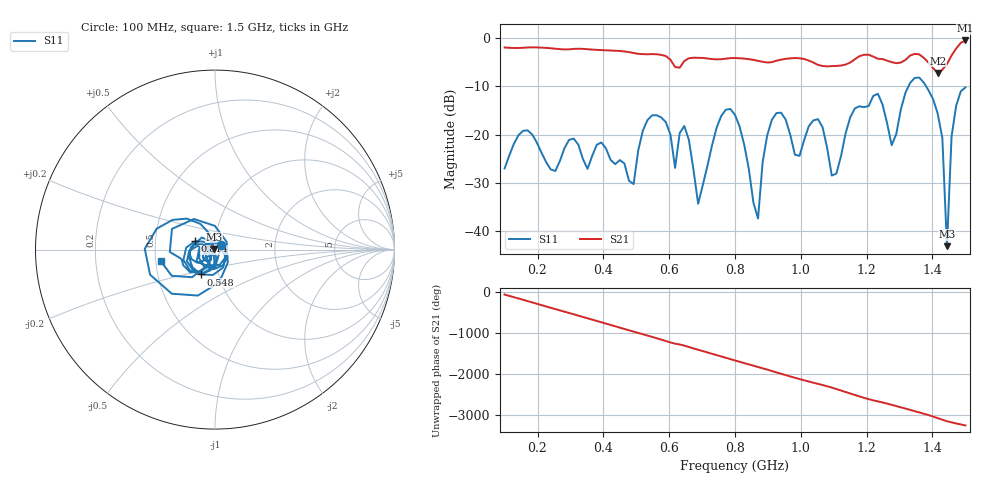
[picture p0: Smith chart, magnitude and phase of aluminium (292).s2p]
! NanoVNA-App
! Date: 2025-09-25 14:57:33
! Start: 100MHz Stop: 1,5GHz Points: 101
! S-Parameter data: F S11 S21 S12 S22
# Hz S RI R 50
!  Frequency  S11_Real  S11_Imag  S21_Real  S21_Imag  S12_Real  S12_Imag  S22_Real  S22_Imag
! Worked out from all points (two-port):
!   101 points, 100 MHz to 1.5 GHz, reference 50 ohm
!   highest |S21| = -0.47 dB at 1.5 GHz (marker M1); lowest = -7.2 dB at 1.416 GHz (marker M2)
!   |S21| within 3 dB of the highest: start of sweep to 576.7 MHz; 1.459 GHz to end of sweep (the widest 2 of 4)
!   lowest |S11| = -43.1 dB at 1.444 GHz (marker M3), VSWR 1.01, Z = 49.4 + j0.306 ohm
!   |S11| at or under -10 dB: start of sweep to 1.327 GHz; 1.381 GHz to end of sweep
!   S12 and S22 are empty: the file has one direction only
!   S11 on the Smith chart (normalised r, x): 100 MHz: 1.07, +0.06; 548 MHz: 0.82, -0.23; 814 MHz: 0.80, +0.07; 1.5 GHz: 0.53, -0.07
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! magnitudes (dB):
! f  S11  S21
! 100 MHz  -27.0  -1.9
! 338 MHz  -25.0  -2.2
! 492 MHz  -30.2  -3.1
! 548 MHz  -16.0  -3.3
! 576 MHz  -16.4  -3.5
! 618 MHz  -26.9  -6.0
! 646 MHz  -18.2  -4.7
! 688 MHz  -34.3  -4.1
! 800 MHz  -15.9  -4.1
! 814 MHz  -18.3  -4.2
! 870 MHz  -37.3  -4.7
! 912 MHz  -16.9  -5.0
! 1.038 GHz  -17.0  -5.0
! 1.094 GHz  -28.4  -5.8
! 1.22 GHz  -12.0  -3.8
! 1.276 GHz  -22.2  -4.9
! 1.346 GHz  -8.2  -3.3
! 1.416 GHz  -15.7  -7.2
! 1.43 GHz  -20.7  -6.5
! 1.444 GHz  -43.1  -5.4
! 1.458 GHz  -20.4  -3.6
! 1.5 GHz  -10.2  -0.5
